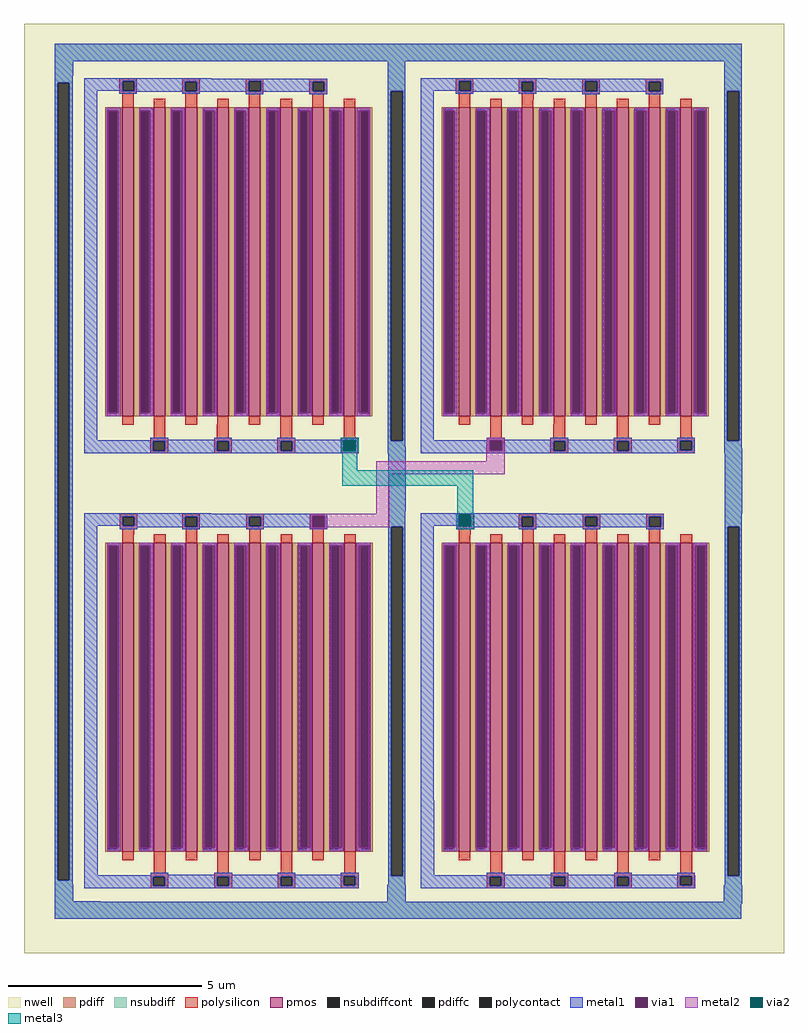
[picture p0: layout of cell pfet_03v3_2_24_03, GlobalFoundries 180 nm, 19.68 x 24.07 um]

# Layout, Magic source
magic
tech gf180mcuD
magscale 1 10
<< nwell >>
rect -334 -2650 3601 2164
<< pmos >>
rect 1916 130 1976 1730
rect 2080 130 2140 1730
rect 2244 130 2304 1730
rect 2408 130 2468 1730
rect 2572 130 2632 1730
rect 2736 130 2796 1730
rect 2900 130 2960 1730
rect 3064 130 3124 1730
rect 175 -2123 235 -523
rect 339 -2123 399 -523
rect 503 -2123 563 -523
rect 667 -2123 727 -523
rect 831 -2123 891 -523
rect 995 -2123 1055 -523
rect 1159 -2123 1219 -523
rect 1323 -2123 1383 -523
rect 1917 -2123 1977 -523
rect 2081 -2123 2141 -523
rect 2245 -2123 2305 -523
rect 2409 -2123 2469 -523
rect 2573 -2123 2633 -523
rect 2737 -2123 2797 -523
rect 2901 -2123 2961 -523
rect 3065 -2123 3125 -523
<< pdiff >>
rect 95 132 167 1728
rect 263 132 335 1728
rect 427 132 499 1728
rect 591 132 663 1728
rect 754 132 826 1728
rect 919 132 991 1728
rect 1083 132 1155 1728
rect 1246 132 1318 1728
rect 1388 132 1460 1728
rect 1828 1717 1916 1730
rect 1828 143 1841 1717
rect 1887 143 1916 1717
rect 1828 130 1916 143
rect 1976 1717 2080 1730
rect 1976 143 2005 1717
rect 2051 143 2080 1717
rect 1976 130 2080 143
rect 2140 1717 2244 1730
rect 2140 143 2169 1717
rect 2215 143 2244 1717
rect 2140 130 2244 143
rect 2304 1717 2408 1730
rect 2304 143 2333 1717
rect 2379 143 2408 1717
rect 2304 130 2408 143
rect 2468 1717 2572 1730
rect 2468 143 2497 1717
rect 2543 143 2572 1717
rect 2468 130 2572 143
rect 2632 1717 2736 1730
rect 2632 143 2661 1717
rect 2707 143 2736 1717
rect 2632 130 2736 143
rect 2796 1717 2900 1730
rect 2796 143 2825 1717
rect 2871 143 2900 1717
rect 2796 130 2900 143
rect 2960 1717 3064 1730
rect 2960 143 2989 1717
rect 3035 143 3064 1717
rect 2960 130 3064 143
rect 3124 1717 3212 1730
rect 3124 143 3153 1717
rect 3199 143 3212 1717
rect 3124 130 3212 143
rect 87 -536 175 -523
rect 87 -2110 100 -536
rect 146 -2110 175 -536
rect 87 -2123 175 -2110
rect 235 -536 339 -523
rect 235 -2110 264 -536
rect 310 -2110 339 -536
rect 235 -2123 339 -2110
rect 399 -536 503 -523
rect 399 -2110 428 -536
rect 474 -2110 503 -536
rect 399 -2123 503 -2110
rect 563 -536 667 -523
rect 563 -2110 592 -536
rect 638 -2110 667 -536
rect 563 -2123 667 -2110
rect 727 -536 831 -523
rect 727 -2110 756 -536
rect 802 -2110 831 -536
rect 727 -2123 831 -2110
rect 891 -536 995 -523
rect 891 -2110 920 -536
rect 966 -2110 995 -536
rect 891 -2123 995 -2110
rect 1055 -536 1159 -523
rect 1055 -2110 1084 -536
rect 1130 -2110 1159 -536
rect 1055 -2123 1159 -2110
rect 1219 -536 1323 -523
rect 1219 -2110 1248 -536
rect 1294 -2110 1323 -536
rect 1219 -2123 1323 -2110
rect 1383 -536 1471 -523
rect 1383 -2110 1412 -536
rect 1458 -2110 1471 -536
rect 1383 -2123 1471 -2110
rect 1829 -536 1917 -523
rect 1829 -2110 1842 -536
rect 1888 -2110 1917 -536
rect 1829 -2123 1917 -2110
rect 1977 -536 2081 -523
rect 1977 -2110 2006 -536
rect 2052 -2110 2081 -536
rect 1977 -2123 2081 -2110
rect 2141 -536 2245 -523
rect 2141 -2110 2170 -536
rect 2216 -2110 2245 -536
rect 2141 -2123 2245 -2110
rect 2305 -536 2409 -523
rect 2305 -2110 2334 -536
rect 2380 -2110 2409 -536
rect 2305 -2123 2409 -2110
rect 2469 -536 2573 -523
rect 2469 -2110 2498 -536
rect 2544 -2110 2573 -536
rect 2469 -2123 2573 -2110
rect 2633 -536 2737 -523
rect 2633 -2110 2662 -536
rect 2708 -2110 2737 -536
rect 2633 -2123 2737 -2110
rect 2797 -536 2901 -523
rect 2797 -2110 2826 -536
rect 2872 -2110 2901 -536
rect 2797 -2123 2901 -2110
rect 2961 -536 3065 -523
rect 2961 -2110 2990 -536
rect 3036 -2110 3065 -536
rect 2961 -2123 3065 -2110
rect 3125 -536 3213 -523
rect 3125 -2110 3154 -536
rect 3200 -2110 3213 -536
rect 3125 -2123 3213 -2110
<< pdiffc >>
rect 1841 143 1887 1717
rect 2005 143 2051 1717
rect 2169 143 2215 1717
rect 2333 143 2379 1717
rect 2497 143 2543 1717
rect 2661 143 2707 1717
rect 2825 143 2871 1717
rect 2989 143 3035 1717
rect 3153 143 3199 1717
rect 100 -2110 146 -536
rect 264 -2110 310 -536
rect 428 -2110 474 -536
rect 592 -2110 638 -536
rect 756 -2110 802 -536
rect 920 -2110 966 -536
rect 1084 -2110 1130 -536
rect 1248 -2110 1294 -536
rect 1412 -2110 1458 -536
rect 1842 -2110 1888 -536
rect 2006 -2110 2052 -536
rect 2170 -2110 2216 -536
rect 2334 -2110 2380 -536
rect 2498 -2110 2544 -536
rect 2662 -2110 2708 -536
rect 2826 -2110 2872 -536
rect 2990 -2110 3036 -536
rect 3154 -2110 3200 -536
<< nsubdiff >>
rect -174 1991 3381 2059
rect -175 1970 3381 1991
rect -175 1894 -80 1970
rect -174 1859 -82 1894
rect -174 -2271 -159 1859
rect -99 -2271 -82 1859
rect 1550 1813 1640 1970
rect 3292 1899 3381 1970
rect 1550 4 1566 1813
rect 1627 4 1640 1813
rect 3292 1813 3382 1899
rect 1550 -28 1640 4
rect 1550 -60 1642 -28
rect 3292 4 3308 1813
rect 3369 4 3382 1813
rect 3292 -38 3382 4
rect 3292 -60 3384 -38
rect 1551 -360 1642 -60
rect 1551 -440 1641 -360
rect 3293 -370 3384 -60
rect -174 -2294 -82 -2271
rect -174 -2380 -79 -2294
rect 1551 -2249 1567 -440
rect 1628 -2249 1641 -440
rect 3293 -440 3383 -370
rect 1551 -2294 1641 -2249
rect -175 -2382 63 -2380
rect 1548 -2382 1643 -2294
rect 3293 -2249 3309 -440
rect 3370 -2249 3383 -440
rect 3293 -2297 3383 -2249
rect 3289 -2382 3384 -2297
rect -175 -2394 3384 -2382
rect -175 -2471 3380 -2394
<< nsubdiffcont >>
rect -159 -2271 -99 1859
rect 1566 4 1627 1813
rect 3308 4 3369 1813
rect 1567 -2249 1628 -440
rect 3309 -2249 3370 -440
<< polysilicon >>
rect 160 1865 251 1880
rect 160 1816 177 1865
rect 236 1816 251 1865
rect 160 1800 251 1816
rect 485 1864 576 1880
rect 485 1813 500 1864
rect 561 1813 576 1864
rect 485 1800 576 1813
rect 815 1865 906 1879
rect 815 1814 830 1865
rect 891 1814 906 1865
rect 174 1770 235 1800
rect 502 1770 563 1800
rect 815 1799 906 1814
rect 1144 1864 1235 1879
rect 1144 1813 1160 1864
rect 1221 1813 1235 1864
rect 1144 1799 1235 1813
rect 830 1769 890 1799
rect 1158 1769 1218 1799
rect 337 20 398 92
rect 665 20 726 90
rect 994 25 1054 91
rect 993 20 1054 25
rect 1322 24 1382 91
rect 1322 20 1383 24
rect 320 1 412 20
rect 320 -47 335 1
rect 395 -47 412 1
rect 320 -60 412 -47
rect 650 1 742 20
rect 650 -47 666 1
rect 726 -47 742 1
rect 650 -60 742 -47
rect 978 1 1070 20
rect 978 -47 995 1
rect 1055 -47 1070 1
rect 978 -60 1070 -47
rect 1305 3 1397 20
rect 1305 -45 1321 3
rect 1381 -45 1397 3
rect 1305 -60 1397 -45
rect 1902 1865 1993 1880
rect 1902 1816 1919 1865
rect 1978 1816 1993 1865
rect 1902 1800 1993 1816
rect 2227 1864 2318 1880
rect 2227 1813 2242 1864
rect 2303 1813 2318 1864
rect 2227 1800 2318 1813
rect 2557 1865 2648 1879
rect 2557 1814 2572 1865
rect 2633 1814 2648 1865
rect 1916 1770 1977 1800
rect 1916 1730 1976 1770
rect 2080 1730 2140 1774
rect 2244 1770 2305 1800
rect 2557 1799 2648 1814
rect 2886 1864 2977 1879
rect 2886 1813 2902 1864
rect 2963 1813 2977 1864
rect 2886 1799 2977 1813
rect 2244 1730 2304 1770
rect 2408 1730 2468 1774
rect 2572 1730 2632 1799
rect 2736 1730 2796 1774
rect 2900 1730 2960 1799
rect 3064 1730 3124 1774
rect 1916 86 1976 130
rect 2080 92 2140 130
rect 2079 20 2140 92
rect 2244 86 2304 130
rect 2408 90 2468 130
rect 2407 20 2468 90
rect 2572 86 2632 130
rect 2736 25 2796 130
rect 2900 86 2960 130
rect 2735 20 2796 25
rect 3064 24 3124 130
rect 3064 20 3125 24
rect 2062 1 2154 20
rect 2062 -47 2077 1
rect 2137 -47 2154 1
rect 2062 -60 2154 -47
rect 2392 1 2484 20
rect 2392 -47 2408 1
rect 2468 -47 2484 1
rect 2392 -60 2484 -47
rect 2720 1 2812 20
rect 2720 -47 2737 1
rect 2797 -47 2812 1
rect 2720 -60 2812 -47
rect 3047 3 3139 20
rect 3047 -45 3063 3
rect 3123 -45 3139 3
rect 3047 -60 3139 -45
rect 161 -388 252 -373
rect 161 -437 178 -388
rect 237 -437 252 -388
rect 161 -453 252 -437
rect 486 -389 577 -373
rect 486 -440 501 -389
rect 562 -440 577 -389
rect 486 -453 577 -440
rect 816 -388 907 -374
rect 816 -439 831 -388
rect 892 -439 907 -388
rect 175 -483 236 -453
rect 175 -523 235 -483
rect 339 -523 399 -479
rect 503 -483 564 -453
rect 816 -454 907 -439
rect 1145 -389 1236 -374
rect 1145 -440 1161 -389
rect 1222 -440 1236 -389
rect 1145 -454 1236 -440
rect 503 -523 563 -483
rect 667 -523 727 -479
rect 831 -523 891 -454
rect 995 -523 1055 -479
rect 1159 -523 1219 -454
rect 1323 -523 1383 -479
rect 175 -2167 235 -2123
rect 339 -2161 399 -2123
rect 338 -2233 399 -2161
rect 503 -2167 563 -2123
rect 667 -2163 727 -2123
rect 666 -2233 727 -2163
rect 831 -2167 891 -2123
rect 995 -2228 1055 -2123
rect 1159 -2167 1219 -2123
rect 994 -2233 1055 -2228
rect 1323 -2229 1383 -2123
rect 1323 -2233 1384 -2229
rect 321 -2252 413 -2233
rect 321 -2300 336 -2252
rect 396 -2300 413 -2252
rect 321 -2313 413 -2300
rect 651 -2252 743 -2233
rect 651 -2300 667 -2252
rect 727 -2300 743 -2252
rect 651 -2313 743 -2300
rect 979 -2252 1071 -2233
rect 979 -2300 996 -2252
rect 1056 -2300 1071 -2252
rect 979 -2313 1071 -2300
rect 1306 -2250 1398 -2233
rect 1306 -2298 1322 -2250
rect 1382 -2298 1398 -2250
rect 1903 -388 1994 -373
rect 1903 -437 1920 -388
rect 1979 -437 1994 -388
rect 1903 -453 1994 -437
rect 2228 -389 2319 -373
rect 2228 -440 2243 -389
rect 2304 -440 2319 -389
rect 2228 -453 2319 -440
rect 2558 -388 2649 -374
rect 2558 -439 2573 -388
rect 2634 -439 2649 -388
rect 1917 -483 1978 -453
rect 1917 -523 1977 -483
rect 2081 -523 2141 -479
rect 2245 -483 2306 -453
rect 2558 -454 2649 -439
rect 2887 -389 2978 -374
rect 2887 -440 2903 -389
rect 2964 -440 2978 -389
rect 2887 -454 2978 -440
rect 2245 -523 2305 -483
rect 2409 -523 2469 -479
rect 2573 -523 2633 -454
rect 2737 -523 2797 -479
rect 2901 -523 2961 -454
rect 3065 -523 3125 -479
rect 1917 -2167 1977 -2123
rect 2081 -2161 2141 -2123
rect 2080 -2233 2141 -2161
rect 2245 -2167 2305 -2123
rect 2409 -2163 2469 -2123
rect 2408 -2233 2469 -2163
rect 2573 -2167 2633 -2123
rect 2737 -2228 2797 -2123
rect 2901 -2167 2961 -2123
rect 2736 -2233 2797 -2228
rect 3065 -2229 3125 -2123
rect 3065 -2233 3126 -2229
rect 2063 -2252 2155 -2233
rect 1306 -2313 1398 -2298
rect 2063 -2300 2078 -2252
rect 2138 -2300 2155 -2252
rect 2063 -2313 2155 -2300
rect 2393 -2252 2485 -2233
rect 2393 -2300 2409 -2252
rect 2469 -2300 2485 -2252
rect 2393 -2313 2485 -2300
rect 2721 -2252 2813 -2233
rect 2721 -2300 2738 -2252
rect 2798 -2300 2813 -2252
rect 2721 -2313 2813 -2300
rect 3048 -2250 3140 -2233
rect 3048 -2298 3064 -2250
rect 3124 -2298 3140 -2250
rect 3048 -2313 3140 -2298
<< polycontact >>
rect 177 1816 236 1865
rect 500 1813 561 1864
rect 830 1814 891 1865
rect 1160 1813 1221 1864
rect 335 -47 395 1
rect 666 -47 726 1
rect 995 -47 1055 1
rect 1321 -45 1381 3
rect 1919 1816 1978 1865
rect 2242 1813 2303 1864
rect 2572 1814 2633 1865
rect 2902 1813 2963 1864
rect 2077 -47 2137 1
rect 2408 -47 2468 1
rect 2737 -47 2797 1
rect 3063 -45 3123 3
rect 178 -437 237 -388
rect 501 -440 562 -389
rect 831 -439 892 -388
rect 1161 -440 1222 -389
rect 336 -2300 396 -2252
rect 667 -2300 727 -2252
rect 996 -2300 1056 -2252
rect 1322 -2298 1382 -2250
rect 1920 -437 1979 -388
rect 2243 -440 2304 -389
rect 2573 -439 2634 -388
rect 2903 -440 2964 -389
rect 2078 -2300 2138 -2252
rect 2409 -2300 2469 -2252
rect 2738 -2300 2798 -2252
rect 3064 -2298 3124 -2250
<< metal1 >>
rect -174 1991 3381 2059
rect -175 1970 3381 1991
rect -175 1894 -80 1970
rect -174 1859 -82 1894
rect -174 -2271 -159 1859
rect -99 -2271 -82 1859
rect -22 1879 635 1881
rect -22 1865 1235 1879
rect -22 1816 177 1865
rect 236 1864 830 1865
rect 236 1816 500 1864
rect -22 393 45 1816
rect 160 1813 500 1816
rect 561 1814 830 1864
rect 891 1864 1235 1865
rect 891 1814 1160 1864
rect 561 1813 1160 1814
rect 1221 1813 1235 1864
rect 160 1810 1235 1813
rect 160 1800 251 1810
rect 485 1800 576 1810
rect 815 1799 906 1810
rect 1144 1799 1235 1810
rect 1550 1813 1640 1970
rect 3292 1899 3381 1970
rect 95 1713 167 1728
rect -22 8 46 393
rect 95 150 103 1713
rect 155 150 167 1713
rect 95 132 167 150
rect 263 1714 335 1728
rect 263 150 267 1714
rect 319 150 335 1714
rect 263 132 335 150
rect 427 1714 499 1728
rect 427 150 434 1714
rect 486 150 499 1714
rect 427 132 499 150
rect 591 1714 663 1728
rect 591 150 601 1714
rect 653 150 663 1714
rect 591 132 663 150
rect 754 1714 826 1728
rect 754 150 763 1714
rect 815 150 826 1714
rect 754 132 826 150
rect 919 1714 991 1728
rect 919 150 930 1714
rect 982 150 991 1714
rect 919 132 991 150
rect 1083 1714 1155 1728
rect 1083 150 1095 1714
rect 1147 150 1155 1714
rect 1083 132 1155 150
rect 1246 1714 1318 1728
rect 1246 150 1257 1714
rect 1309 150 1318 1714
rect 1246 132 1318 150
rect 1388 1713 1460 1728
rect 1388 149 1398 1713
rect 1450 149 1460 1713
rect 1388 132 1460 149
rect 320 10 412 20
rect 650 10 742 20
rect 978 10 1070 20
rect 1305 10 1397 20
rect 320 8 1397 10
rect -22 1 1320 8
rect 1383 6 1397 8
rect -22 -47 335 1
rect 395 -47 666 1
rect 726 -47 995 1
rect 1055 -47 1320 1
rect -22 -51 1320 -47
rect 1383 -51 1398 6
rect -22 -60 1398 -51
rect 1550 4 1566 1813
rect 1627 4 1640 1813
rect 1550 -28 1640 4
rect 1720 1879 2377 1881
rect 1720 1865 2977 1879
rect 1720 1816 1919 1865
rect 1978 1864 2572 1865
rect 1978 1816 2242 1864
rect 1720 393 1787 1816
rect 1902 1813 2242 1816
rect 2303 1814 2572 1864
rect 2633 1864 2977 1865
rect 2633 1814 2902 1864
rect 2303 1813 2902 1814
rect 2963 1813 2977 1864
rect 1902 1810 2977 1813
rect 1902 1800 1993 1810
rect 2227 1800 2318 1810
rect 2557 1799 2648 1810
rect 2886 1799 2977 1810
rect 3292 1813 3382 1899
rect 1837 1717 1909 1728
rect 1720 8 1788 393
rect 1837 143 1841 1717
rect 1887 1713 1909 1717
rect 1897 150 1909 1713
rect 1887 143 1909 150
rect 1837 132 1909 143
rect 2005 1717 2077 1728
rect 2051 1714 2077 1717
rect 2061 150 2077 1714
rect 2051 143 2077 150
rect 2005 132 2077 143
rect 2169 1717 2241 1728
rect 2215 1714 2241 1717
rect 2228 150 2241 1714
rect 2215 143 2241 150
rect 2169 132 2241 143
rect 2333 1717 2405 1728
rect 2379 1714 2405 1717
rect 2395 150 2405 1714
rect 2379 143 2405 150
rect 2333 132 2405 143
rect 2496 1717 2568 1728
rect 2496 143 2497 1717
rect 2543 1714 2568 1717
rect 2557 150 2568 1714
rect 2543 143 2568 150
rect 2496 132 2568 143
rect 2661 1717 2733 1728
rect 2707 1714 2733 1717
rect 2724 150 2733 1714
rect 2707 143 2733 150
rect 2661 132 2733 143
rect 2825 1717 2897 1728
rect 2871 1714 2897 1717
rect 2889 150 2897 1714
rect 2871 143 2897 150
rect 2825 132 2897 143
rect 2988 1717 3060 1728
rect 2988 143 2989 1717
rect 3035 1714 3060 1717
rect 3051 150 3060 1714
rect 3035 143 3060 150
rect 2988 132 3060 143
rect 3130 1717 3202 1728
rect 3130 1713 3153 1717
rect 3130 149 3140 1713
rect 3130 143 3153 149
rect 3199 143 3202 1717
rect 3130 132 3202 143
rect 2062 10 2154 20
rect 2392 10 2484 20
rect 2720 10 2812 20
rect 3047 10 3139 20
rect 2062 8 3139 10
rect 1720 1 2078 8
rect 2142 6 3139 8
rect 2142 3 3140 6
rect 2142 1 3063 3
rect 1550 -60 1642 -28
rect 1720 -47 2077 1
rect 2142 -47 2408 1
rect 2468 -47 2737 1
rect 2797 -45 3063 1
rect 3123 -45 3140 3
rect 2797 -47 3140 -45
rect 1720 -48 2078 -47
rect 2142 -48 3140 -47
rect 1720 -60 3140 -48
rect 3292 4 3308 1813
rect 3369 4 3382 1813
rect 3292 -38 3382 4
rect 3292 -60 3384 -38
rect 1551 -360 1642 -60
rect -174 -2294 -82 -2271
rect -21 -374 636 -372
rect -21 -383 1236 -374
rect -21 -388 1159 -383
rect -21 -437 178 -388
rect 237 -389 831 -388
rect 237 -437 501 -389
rect -21 -1860 46 -437
rect 161 -440 501 -437
rect 562 -439 831 -389
rect 892 -439 1159 -388
rect 562 -440 1159 -439
rect 161 -443 1159 -440
rect 161 -453 252 -443
rect 486 -453 577 -443
rect 816 -454 907 -443
rect 1145 -444 1159 -443
rect 1222 -444 1236 -383
rect 1145 -454 1236 -444
rect 1551 -440 1641 -360
rect 3293 -370 3384 -60
rect 96 -536 168 -525
rect -21 -2245 47 -1860
rect 96 -2110 100 -536
rect 146 -540 168 -536
rect 156 -2103 168 -540
rect 146 -2110 168 -2103
rect 96 -2121 168 -2110
rect 264 -536 336 -525
rect 310 -539 336 -536
rect 320 -2103 336 -539
rect 310 -2110 336 -2103
rect 264 -2121 336 -2110
rect 428 -536 500 -525
rect 474 -539 500 -536
rect 487 -2103 500 -539
rect 474 -2110 500 -2103
rect 428 -2121 500 -2110
rect 592 -536 664 -525
rect 638 -539 664 -536
rect 654 -2103 664 -539
rect 638 -2110 664 -2103
rect 592 -2121 664 -2110
rect 755 -536 827 -525
rect 755 -2110 756 -536
rect 802 -539 827 -536
rect 816 -2103 827 -539
rect 802 -2110 827 -2103
rect 755 -2121 827 -2110
rect 920 -536 992 -525
rect 966 -539 992 -536
rect 983 -2103 992 -539
rect 966 -2110 992 -2103
rect 920 -2121 992 -2110
rect 1084 -536 1156 -525
rect 1130 -539 1156 -536
rect 1148 -2103 1156 -539
rect 1130 -2110 1156 -2103
rect 1084 -2121 1156 -2110
rect 1247 -536 1319 -525
rect 1247 -2110 1248 -536
rect 1294 -539 1319 -536
rect 1310 -2103 1319 -539
rect 1294 -2110 1319 -2103
rect 1247 -2121 1319 -2110
rect 1389 -536 1461 -525
rect 1389 -540 1412 -536
rect 1389 -2104 1399 -540
rect 1389 -2110 1412 -2104
rect 1458 -2110 1461 -536
rect 1389 -2121 1461 -2110
rect 321 -2243 413 -2233
rect 651 -2243 743 -2233
rect 979 -2243 1071 -2233
rect 1306 -2243 1398 -2233
rect 321 -2245 1398 -2243
rect -21 -2247 1398 -2245
rect -21 -2250 1399 -2247
rect -21 -2252 1322 -2250
rect -174 -2380 -79 -2294
rect -21 -2300 336 -2252
rect 396 -2300 667 -2252
rect 727 -2300 996 -2252
rect 1056 -2298 1322 -2252
rect 1382 -2298 1399 -2250
rect 1551 -2249 1567 -440
rect 1628 -2249 1641 -440
rect 1551 -2294 1641 -2249
rect 1721 -374 2378 -372
rect 1721 -380 2978 -374
rect 1721 -437 1917 -380
rect 1980 -388 2978 -380
rect 1980 -389 2573 -388
rect 1721 -1860 1788 -437
rect 1903 -439 1917 -437
rect 1980 -439 2243 -389
rect 1903 -440 2243 -439
rect 2304 -439 2573 -389
rect 2634 -389 2978 -388
rect 2634 -439 2903 -389
rect 2304 -440 2903 -439
rect 2964 -440 2978 -389
rect 1903 -443 2978 -440
rect 1903 -453 1994 -443
rect 2228 -453 2319 -443
rect 2558 -454 2649 -443
rect 2887 -454 2978 -443
rect 3293 -440 3383 -370
rect 1838 -536 1910 -525
rect 1721 -2245 1789 -1860
rect 1838 -2110 1842 -536
rect 1888 -540 1910 -536
rect 1898 -2103 1910 -540
rect 1888 -2110 1910 -2103
rect 1838 -2121 1910 -2110
rect 2006 -536 2078 -525
rect 2052 -539 2078 -536
rect 2062 -2103 2078 -539
rect 2052 -2110 2078 -2103
rect 2006 -2121 2078 -2110
rect 2170 -536 2242 -525
rect 2216 -539 2242 -536
rect 2229 -2103 2242 -539
rect 2216 -2110 2242 -2103
rect 2170 -2121 2242 -2110
rect 2334 -536 2406 -525
rect 2380 -539 2406 -536
rect 2396 -2103 2406 -539
rect 2380 -2110 2406 -2103
rect 2334 -2121 2406 -2110
rect 2497 -536 2569 -525
rect 2497 -2110 2498 -536
rect 2544 -539 2569 -536
rect 2558 -2103 2569 -539
rect 2544 -2110 2569 -2103
rect 2497 -2121 2569 -2110
rect 2662 -536 2734 -525
rect 2708 -539 2734 -536
rect 2725 -2103 2734 -539
rect 2708 -2110 2734 -2103
rect 2662 -2121 2734 -2110
rect 2826 -536 2898 -525
rect 2872 -539 2898 -536
rect 2890 -2103 2898 -539
rect 2872 -2110 2898 -2103
rect 2826 -2121 2898 -2110
rect 2989 -536 3061 -525
rect 2989 -2110 2990 -536
rect 3036 -539 3061 -536
rect 3052 -2103 3061 -539
rect 3036 -2110 3061 -2103
rect 2989 -2121 3061 -2110
rect 3131 -536 3203 -525
rect 3131 -540 3154 -536
rect 3131 -2104 3141 -540
rect 3131 -2110 3154 -2104
rect 3200 -2110 3203 -536
rect 3131 -2121 3203 -2110
rect 2063 -2243 2155 -2233
rect 2393 -2243 2485 -2233
rect 2721 -2243 2813 -2233
rect 3048 -2243 3140 -2233
rect 2063 -2245 3140 -2243
rect 1721 -2247 3140 -2245
rect 1721 -2250 3141 -2247
rect 1721 -2252 3064 -2250
rect 1056 -2300 1399 -2298
rect -21 -2313 1399 -2300
rect -175 -2382 63 -2380
rect 1548 -2382 1643 -2294
rect 1721 -2300 2078 -2252
rect 2138 -2300 2409 -2252
rect 2469 -2300 2738 -2252
rect 2798 -2298 3064 -2252
rect 3124 -2298 3141 -2250
rect 3293 -2249 3309 -440
rect 3370 -2249 3383 -440
rect 3293 -2297 3383 -2249
rect 2798 -2300 3141 -2298
rect 1721 -2313 3141 -2300
rect 3289 -2382 3384 -2297
rect -175 -2394 3384 -2382
rect -175 -2471 3380 -2394
<< via1 >>
rect 103 150 155 1713
rect 267 150 319 1714
rect 434 150 486 1714
rect 601 150 653 1714
rect 763 150 815 1714
rect 930 150 982 1714
rect 1095 150 1147 1714
rect 1257 150 1309 1714
rect 1398 149 1450 1713
rect 1320 3 1383 8
rect 1320 -45 1321 3
rect 1321 -45 1381 3
rect 1381 -45 1383 3
rect 1320 -51 1383 -45
rect 1845 150 1887 1713
rect 1887 150 1897 1713
rect 2009 150 2051 1714
rect 2051 150 2061 1714
rect 2176 150 2215 1714
rect 2215 150 2228 1714
rect 2343 150 2379 1714
rect 2379 150 2395 1714
rect 2505 150 2543 1714
rect 2543 150 2557 1714
rect 2672 150 2707 1714
rect 2707 150 2724 1714
rect 2837 150 2871 1714
rect 2871 150 2889 1714
rect 2999 150 3035 1714
rect 3035 150 3051 1714
rect 3140 149 3153 1713
rect 3153 149 3192 1713
rect 2078 1 2142 8
rect 2078 -47 2137 1
rect 2137 -47 2142 1
rect 2078 -48 2142 -47
rect 1159 -389 1222 -383
rect 1159 -440 1161 -389
rect 1161 -440 1222 -389
rect 1159 -444 1222 -440
rect 104 -2103 146 -540
rect 146 -2103 156 -540
rect 268 -2103 310 -539
rect 310 -2103 320 -539
rect 435 -2103 474 -539
rect 474 -2103 487 -539
rect 602 -2103 638 -539
rect 638 -2103 654 -539
rect 764 -2103 802 -539
rect 802 -2103 816 -539
rect 931 -2103 966 -539
rect 966 -2103 983 -539
rect 1096 -2103 1130 -539
rect 1130 -2103 1148 -539
rect 1258 -2103 1294 -539
rect 1294 -2103 1310 -539
rect 1399 -2104 1412 -540
rect 1412 -2104 1451 -540
rect 1917 -388 1980 -380
rect 1917 -437 1920 -388
rect 1920 -437 1979 -388
rect 1979 -437 1980 -388
rect 1917 -439 1980 -437
rect 1846 -2103 1888 -540
rect 1888 -2103 1898 -540
rect 2010 -2103 2052 -539
rect 2052 -2103 2062 -539
rect 2177 -2103 2216 -539
rect 2216 -2103 2229 -539
rect 2344 -2103 2380 -539
rect 2380 -2103 2396 -539
rect 2506 -2103 2544 -539
rect 2544 -2103 2558 -539
rect 2673 -2103 2708 -539
rect 2708 -2103 2725 -539
rect 2838 -2103 2872 -539
rect 2872 -2103 2890 -539
rect 3000 -2103 3036 -539
rect 3036 -2103 3052 -539
rect 3141 -2104 3154 -540
rect 3154 -2104 3193 -540
<< metal2 >>
rect 95 1713 167 1728
rect 95 150 103 1713
rect 155 150 167 1713
rect 95 132 167 150
rect 263 1714 335 1728
rect 263 150 267 1714
rect 319 150 335 1714
rect 263 132 335 150
rect 427 1714 499 1728
rect 427 150 434 1714
rect 486 150 499 1714
rect 427 132 499 150
rect 591 1714 663 1728
rect 591 150 601 1714
rect 653 150 663 1714
rect 591 132 663 150
rect 754 1714 826 1728
rect 754 150 763 1714
rect 815 150 826 1714
rect 754 132 826 150
rect 919 1714 991 1728
rect 919 150 930 1714
rect 982 150 991 1714
rect 919 132 991 150
rect 1083 1714 1155 1728
rect 1083 150 1095 1714
rect 1147 150 1155 1714
rect 1083 132 1155 150
rect 1246 1714 1318 1728
rect 1246 150 1257 1714
rect 1309 150 1318 1714
rect 1246 132 1318 150
rect 1388 1713 1460 1728
rect 1388 149 1398 1713
rect 1450 149 1460 1713
rect 1388 132 1460 149
rect 1837 1713 1909 1728
rect 1837 150 1845 1713
rect 1897 150 1909 1713
rect 1837 132 1909 150
rect 2005 1714 2077 1728
rect 2005 150 2009 1714
rect 2061 150 2077 1714
rect 2005 132 2077 150
rect 2169 1714 2241 1728
rect 2169 150 2176 1714
rect 2228 150 2241 1714
rect 2169 132 2241 150
rect 2333 1714 2405 1728
rect 2333 150 2343 1714
rect 2395 150 2405 1714
rect 2333 132 2405 150
rect 2496 1714 2568 1728
rect 2496 150 2505 1714
rect 2557 150 2568 1714
rect 2496 132 2568 150
rect 2661 1714 2733 1728
rect 2661 150 2672 1714
rect 2724 150 2733 1714
rect 2661 132 2733 150
rect 2825 1714 2897 1728
rect 2825 150 2837 1714
rect 2889 150 2897 1714
rect 2825 132 2897 150
rect 2988 1714 3060 1728
rect 2988 150 2999 1714
rect 3051 150 3060 1714
rect 2988 132 3060 150
rect 3130 1713 3202 1728
rect 3130 149 3140 1713
rect 3192 149 3202 1713
rect 3130 132 3202 149
rect 1305 8 1398 20
rect 1305 -51 1320 8
rect 1383 -51 1398 8
rect 2061 8 2152 20
rect 2061 -19 2078 8
rect 1305 -60 1398 -51
rect 2060 -48 2078 -19
rect 2142 -19 2152 8
rect 2142 -48 2154 -19
rect 2060 -101 2154 -48
rect 1490 -105 2154 -101
rect 1489 -169 2154 -105
rect 1489 -170 2152 -169
rect 1489 -374 1558 -170
rect 1147 -383 1558 -374
rect 1147 -444 1159 -383
rect 1222 -443 1558 -383
rect 1903 -380 1996 -373
rect 1903 -439 1917 -380
rect 1980 -439 1996 -380
rect 1222 -444 1236 -443
rect 1147 -452 1236 -444
rect 1903 -453 1996 -439
rect 96 -540 168 -525
rect 96 -2103 104 -540
rect 156 -2103 168 -540
rect 96 -2121 168 -2103
rect 264 -539 336 -525
rect 264 -2103 268 -539
rect 320 -2103 336 -539
rect 264 -2121 336 -2103
rect 428 -539 500 -525
rect 428 -2103 435 -539
rect 487 -2103 500 -539
rect 428 -2121 500 -2103
rect 592 -539 664 -525
rect 592 -2103 602 -539
rect 654 -2103 664 -539
rect 592 -2121 664 -2103
rect 755 -539 827 -525
rect 755 -2103 764 -539
rect 816 -2103 827 -539
rect 755 -2121 827 -2103
rect 920 -539 992 -525
rect 920 -2103 931 -539
rect 983 -2103 992 -539
rect 920 -2121 992 -2103
rect 1084 -539 1156 -525
rect 1084 -2103 1096 -539
rect 1148 -2103 1156 -539
rect 1084 -2121 1156 -2103
rect 1247 -539 1319 -525
rect 1247 -2103 1258 -539
rect 1310 -2103 1319 -539
rect 1247 -2121 1319 -2103
rect 1389 -540 1461 -525
rect 1389 -2104 1399 -540
rect 1451 -2104 1461 -540
rect 1389 -2121 1461 -2104
rect 1838 -540 1910 -525
rect 1838 -2103 1846 -540
rect 1898 -2103 1910 -540
rect 1838 -2121 1910 -2103
rect 2006 -539 2078 -525
rect 2006 -2103 2010 -539
rect 2062 -2103 2078 -539
rect 2006 -2121 2078 -2103
rect 2170 -539 2242 -525
rect 2170 -2103 2177 -539
rect 2229 -2103 2242 -539
rect 2170 -2121 2242 -2103
rect 2334 -539 2406 -525
rect 2334 -2103 2344 -539
rect 2396 -2103 2406 -539
rect 2334 -2121 2406 -2103
rect 2497 -539 2569 -525
rect 2497 -2103 2506 -539
rect 2558 -2103 2569 -539
rect 2497 -2121 2569 -2103
rect 2662 -539 2734 -525
rect 2662 -2103 2673 -539
rect 2725 -2103 2734 -539
rect 2662 -2121 2734 -2103
rect 2826 -539 2898 -525
rect 2826 -2103 2838 -539
rect 2890 -2103 2898 -539
rect 2826 -2121 2898 -2103
rect 2989 -539 3061 -525
rect 2989 -2103 3000 -539
rect 3052 -2103 3061 -539
rect 2989 -2121 3061 -2103
rect 3131 -540 3203 -525
rect 3131 -2104 3141 -540
rect 3193 -2104 3203 -540
rect 3131 -2121 3203 -2104
<< via2 >>
rect 1320 -51 1383 8
rect 1917 -439 1980 -380
<< metal3 >>
rect 1305 8 1398 20
rect 1305 -51 1320 8
rect 1383 -51 1398 8
rect 1305 -60 1398 -51
rect 1314 -149 1392 -60
rect 1314 -229 1992 -149
rect 1910 -373 1991 -229
rect 1903 -380 1996 -373
rect 1903 -439 1917 -380
rect 1980 -439 1996 -380
rect 1903 -453 1996 -439
use pfet_03v3_CSJ2S3  pfet_03v3_CSJ2S3_0
transform 1 0 778 0 1 930
box -778 -930 778 930
use pfet_03v3_CSJ2S3  pfet_03v3_CSJ2S3_1
transform 1 0 2520 0 1 930
box -778 -930 778 930
use pfet_03v3_CSJ2S3  pfet_03v3_CSJ2S3_2
transform 1 0 2521 0 1 -1323
box -778 -930 778 930
use pfet_03v3_CSJ2S3  pfet_03v3_CSJ2S3_3
transform 1 0 779 0 1 -1323
box -778 -930 778 930
<< end >>

# cell pfet_03v3_CSJ2S3: kit device pfet_03v3, w 8 l 0.3 m 1 nf 8 diffcov 100 polycov 100 guard 0 glc 0 grc 0 gtc 0 gbc 0 tbcov 100 rlcov 100 topc 0 botc 0 poverlap 0 doverlap 1 lmin 0.28 wmin 0.22 class mosfet full_metal 0 compatible {pfet_03v3 pfet_06v0}
